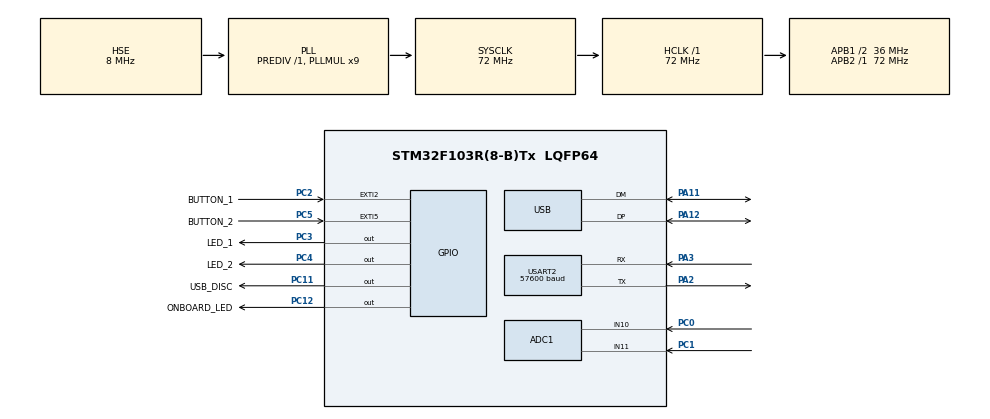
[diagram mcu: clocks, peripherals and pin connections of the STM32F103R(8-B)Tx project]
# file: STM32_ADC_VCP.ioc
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ADC1.Channel-12\#ChannelRegularConversion=ADC_CHANNEL_TEMPSENSOR
ADC1.Channel-13\#ChannelRegularConversion=ADC_CHANNEL_VREFINT
ADC1.Channel-14\#ChannelRegularConversion=ADC_CHANNEL_10
ADC1.Channel-15\#ChannelRegularConversion=ADC_CHANNEL_11
ADC1.ContinuousConvMode=ENABLE
ADC1.NbrOfConversion=4
ADC1.NbrOfConversionFlag=1
ADC1.Rank-12\#ChannelRegularConversion=1
ADC1.Rank-13\#ChannelRegularConversion=2
ADC1.Rank-14\#ChannelRegularConversion=3
ADC1.Rank-15\#ChannelRegularConversion=4
ADC1.SamplingTime-12\#ChannelRegularConversion=ADC_SAMPLETIME_7CYCLES_5
ADC1.SamplingTime-13\#ChannelRegularConversion=ADC_SAMPLETIME_7CYCLES_5
ADC1.SamplingTime-14\#ChannelRegularConversion=ADC_SAMPLETIME_7CYCLES_5
ADC1.SamplingTime-15\#ChannelRegularConversion=ADC_SAMPLETIME_7CYCLES_5
ADC1.master=1
Dma.ADC1.0.Direction=DMA_PERIPH_TO_MEMORY
Dma.ADC1.0.Instance=DMA1_Channel1
Dma.ADC1.0.MemDataAlignment=DMA_MDATAALIGN_WORD
Dma.ADC1.0.MemInc=DMA_MINC_ENABLE
Dma.ADC1.0.Mode=DMA_CIRCULAR
Dma.ADC1.0.PeriphDataAlignment=DMA_PDATAALIGN_WORD
Dma.ADC1.0.PeriphInc=DMA_PINC_DISABLE
Dma.ADC1.0.Priority=DMA_PRIORITY_HIGH
Dma.Request0=ADC1
Mcu.Family=STM32F1
Mcu.Name=STM32F103R(8-B)Tx
Mcu.Package=LQFP64
NVIC.DMA1_Channel1_IRQn=true\:1\:0\:true
NVIC.EXTI2_IRQn=true\:2\:0\:true
NVIC.EXTI9_5_IRQn=true\:3\:0\:true
NVIC.PriorityGroup=NVIC_PRIORITYGROUP_4
NVIC.USB_LP_CAN1_RX0_IRQn=true\:0\:0\:false
PA11.Mode=Device
PA11.Signal=USB_DM
PA12.Mode=Device
PA12.Signal=USB_DP
PA2.Mode=Asynchronous
PA2.Signal=USART2_TX
PA3.Mode=Asynchronous
PA3.Signal=USART2_RX
PC0.Signal=ADCx_IN10
PC1.Signal=ADCx_IN11
PC11.GPIO_Label=USB_DISC
PC11.GPIO_ModeDefaultOutputPP=GPIO_MODE_OUTPUT_PP
PC11.GPIO_Speed=GPIO_SPEED_LOW
PC11.Signal=GPIO_Output
PC12.GPIO_Label=ONBOARD_LED
PC12.GPIO_ModeDefaultOutputPP=GPIO_MODE_OUTPUT_PP
PC12.GPIO_Speed=GPIO_SPEED_LOW
PC12.Signal=GPIO_Output
PC2.GPIO_Label=BUTTON_1
PC2.GPIO_ModeDefaultEXTI=GPIO_MODE_IT_FALLING
PC2.GPIO_PuPd=GPIO_PULLUP
PC2.Signal=GPXTI2
PC3.GPIO_Label=LED_1
PC3.GPIO_ModeDefaultOutputPP=GPIO_MODE_OUTPUT_PP
PC3.GPIO_Speed=GPIO_SPEED_LOW
PC3.Signal=GPIO_Output
PC4.GPIO_Label=LED_2
PC4.GPIO_ModeDefaultOutputPP=GPIO_MODE_OUTPUT_PP
PC4.GPIO_Speed=GPIO_SPEED_LOW
PC4.Signal=GPIO_Output
PC5.GPIO_Label=BUTTON_2
PC5.GPIO_ModeDefaultEXTI=GPIO_MODE_IT_FALLING
PC5.GPIO_PuPd=GPIO_PULLUP
PC5.Signal=GPXTI5
PD0-OSC_IN.Mode=HSE-External-Oscillator
PD0-OSC_IN.Signal=RCC_OSC_IN
PD1-OSC_OUT.Mode=HSE-External-Oscillator
PD1-OSC_OUT.Signal=RCC_OSC_OUT
ProjectManager.TargetToolchain=EWARM
RCC.ADCPresc=RCC_ADCPCLK2_DIV6
RCC.AHBFreq_Value=72000000
RCC.APB1CLKDivider=RCC_HCLK_DIV2
RCC.APB1Freq_Value=36000000
RCC.APB1TimFreq_Value=72000000
RCC.APB2Freq_Value=72000000
RCC.APB2TimFreq_Value=72000000
RCC.HCLKFreq_Value=72000000
RCC.HSIState=RCC_HSI_ON
RCC.PLLMUL=RCC_PLL_MUL9
RCC.PLLSourceVirtual=RCC_PLLSOURCE_HSE
RCC.SYSCLKFreq_VALUE=72000000
RCC.SYSCLKSource=RCC_SYSCLKSOURCE_PLLCLK
RCC.USBFreq_Value=48000000
RCC.USBPrescaler=RCC_USBPLLCLK_DIV1_5
SH.ADCx_IN10.0=ADC1_IN10,IN10
SH.ADCx_IN11.0=ADC1_IN11,IN11
USART2.BaudRate=57600
USB.ep0_mps=DEP0CTL_MPS_64
USB_DEVICE.USBD_HandleTypeDef=hUsbDeviceFS
USB_DEVICE.VirtualMode=Cdc
USB_DEVICE.VirtualModeFS=Cdc_FS
VP_ADC1_TempSens_Input.Mode=IN-TempSens
VP_ADC1_Vref_Input.Mode=IN-Vrefint
VP_USB_DEVICE_VS_USB_DEVICE_CDC_FS.Mode=CDC_FS
board=custom

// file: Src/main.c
/**
 ******************************************************************************
 * File Name          : main.c
 * Description        : Main program body
 ******************************************************************************
 *
 * COPYRIGHT(c) 2015 STMicroelectronics
 *
 * Redistribution and use in source and binary forms, with or without modification,
 * are permitted provided that the following conditions are met:
 *   1. Redistributions of source code must retain the above copyright notice,
 *      this list of conditions and the following disclaimer.
 *   2. Redistributions in binary form must reproduce the above copyright notice,
 *      this list of conditions and the following disclaimer in the documentation
 *      and/or other materials provided with the distribution.
 *   3. Neither the name of STMicroelectronics nor the names of its contributors
 *      may be used to endorse or promote products derived from this software
 *      without specific prior written permission.
 *
 * THIS SOFTWARE IS PROVIDED BY THE COPYRIGHT HOLDERS AND CONTRIBUTORS "AS IS"
 * AND ANY EXPRESS OR IMPLIED WARRANTIES, INCLUDING, BUT NOT LIMITED TO, THE
 * IMPLIED WARRANTIES OF MERCHANTABILITY AND FITNESS FOR A PARTICULAR PURPOSE ARE
 * DISCLAIMED. IN NO EVENT SHALL THE COPYRIGHT HOLDER OR CONTRIBUTORS BE LIABLE
 * FOR ANY DIRECT, INDIRECT, INCIDENTAL, SPECIAL, EXEMPLARY, OR CONSEQUENTIAL
 * DAMAGES (INCLUDING, BUT NOT LIMITED TO, PROCUREMENT OF SUBSTITUTE GOODS OR
 * SERVICES; LOSS OF USE, DATA, OR PROFITS; OR BUSINESS INTERRUPTION) HOWEVER
 * CAUSED AND ON ANY THEORY OF LIABILITY, WHETHER IN CONTRACT, STRICT LIABILITY,
 * OR TORT (INCLUDING NEGLIGENCE OR OTHERWISE) ARISING IN ANY WAY OUT OF THE USE
 * OF THIS SOFTWARE, EVEN IF ADVISED OF THE POSSIBILITY OF SUCH DAMAGE.
 *
 ******************************************************************************
 */

#include "stm32f1xx_hal.h"
#include "adc.h"
#include "dma.h"
#include "usart.h"
#include "usb_device.h"
#include "gpio.h"

/* USER CODE BEGIN Includes */
#include "usbd_cdc_if.h"
#include "serial_debugger.h"
#include "packet.h"
/* USER CODE END Includes */

/* USER CODE BEGIN PV */
uint32_t ADCValues[4]; //buffer for DMA to write ADC values in it
CM_Packet packet;
uint8_t tx_DelayBase = 100; //Delay base between USB TX
uint32_t txDelay = 100;
uint8_t buttonsCount = 1;
uint8_t *bufferPtr = (uint8_t*)&packet; //pointer to start of buffer
/* USER CODE END PV */

void SystemClock_Config(void);

/* USER CODE BEGIN 0 */

//Handle buttons ISR
void HAL_GPIO_EXTI_Callback(uint16_t GPIO_Pin) {

	//Here we see how many times each button is pressed

	//button PC2 increments the delay multiplier
	if(GPIO_Pin == GPIO_PIN_2) {
		buttonsCount++;

		if(buttonsCount > 14) {
			buttonsCount = 14;
		}

		packet.DelayRatio = buttonsCount;
	}

	//button PC5 decrements the delay multiplier
	if(GPIO_Pin == GPIO_PIN_5) {
		buttonsCount--;

		if(buttonsCount < 1) {
			buttonsCount = 1;
		}

		packet.DelayRatio = buttonsCount;
	}

        //update delay
	txDelay = tx_DelayBase * buttonsCount;
}
/* USER CODE END 0 */

int main(void) {

	/* MCU Configuration----------------------------------------------------------*/

	/* Reset of all peripherals, Initializes the Flash interface and the Systick. */
	HAL_Init();

	/* Configure the system clock */
	SystemClock_Config();

	/* Initialize all configured peripherals */
	MX_GPIO_Init();
	MX_DMA_Init();
	MX_ADC1_Init();
	MX_USART2_UART_Init();
	MX_USB_DEVICE_Init();

	/* USER CODE BEGIN 2 */
	HAL_Delay(2000); //wait for USB init
	HAL_ADC_Start(&hadc1); //start ADC
	HAL_ADC_Start_DMA(&hadc1, (uint32_t*) ADCValues, 4); //start ADC DMA

	//setup packet
	packet.DeviceId = 66;
        packet.DelayRatio = 1; //set packet delay ratio to 1
	CM_Init(&packet);
	/* USER CODE END 2 */

	/* Infinite loop */
	while (1) {

		/* USER CODE BEGIN 3 */

		//Delay depending on which button is pressed!
                HAL_Delay(txDelay);

                //Add adc values to packet
                CM_AppendData(&packet, CM_VALUE_0, ADCValues[0]);
                CM_AppendData(&packet, CM_VALUE_1, ADCValues[1]);
                CM_AppendData(&packet, CM_VALUE_2, ADCValues[2]);
                CM_AppendData(&packet, CM_VALUE_3, ADCValues[3]);

		//Write to VCP
                CDC_Transmit_FS(bufferPtr, sizeof(packet));
		//while (CDC_Transmit_FS(bufferPtr, sizeof(packet)) != USBD_OK);

		//debug size of packet
		SD_PutString(USART2, "CM_Packet Size=");
		SD_PutNumber(USART2, sizeof(CM_Packet));
		SD_PutString(USART2, "\r\n");

		SD_PutString(USART2, "DelayRatio=");
		SD_PutNumber(USART2, buttonsCount);
		SD_PutString(USART2, "\r\n");

		//Debug ADCValues with USART2
		SD_PutString(USART2, "ADCValues[0]=");
		SD_PutNumber(USART2, packet.Value0);
		SD_PutString(USART2, "\r\n");

		SD_PutString(USART2, "ADCValues[1]=");
		SD_PutNumber(USART2,packet.Value1);
		SD_PutString(USART2, "\r\n");

		SD_PutString(USART2, "ADCValues[2]=");
		SD_PutNumber(USART2, packet.Value2);
		SD_PutString(USART2, "\r\n");

		SD_PutString(USART2, "ADCValues[3]=");
		SD_PutNumber(USART2, packet.Value3);
		SD_PutString(USART2, "\r\n");

	}
	/* USER CODE END 3 */

}

/** System Clock Configuration
 */
void SystemClock_Config(void) {

	RCC_OscInitTypeDef RCC_OscInitStruct;
	RCC_ClkInitTypeDef RCC_ClkInitStruct;
	RCC_PeriphCLKInitTypeDef PeriphClkInit;

	RCC_OscInitStruct.OscillatorType = RCC_OSCILLATORTYPE_HSE;
	RCC_OscInitStruct.HSEState = RCC_HSE_ON;
	RCC_OscInitStruct.HSEPredivValue = RCC_HSE_PREDIV_DIV1;
	RCC_OscInitStruct.PLL.PLLState = RCC_PLL_ON;
	RCC_OscInitStruct.PLL.PLLSource = RCC_PLLSOURCE_HSE;
	RCC_OscInitStruct.PLL.PLLMUL = RCC_PLL_MUL9;
	HAL_RCC_OscConfig(&RCC_OscInitStruct);

	RCC_ClkInitStruct.ClockType = RCC_CLOCKTYPE_SYSCLK | RCC_CLOCKTYPE_PCLK1;
	RCC_ClkInitStruct.SYSCLKSource = RCC_SYSCLKSOURCE_PLLCLK;
	RCC_ClkInitStruct.AHBCLKDivider = RCC_SYSCLK_DIV1;
	RCC_ClkInitStruct.APB1CLKDivider = RCC_HCLK_DIV2;
	RCC_ClkInitStruct.APB2CLKDivider = RCC_HCLK_DIV1;
	HAL_RCC_ClockConfig(&RCC_ClkInitStruct, FLASH_LATENCY_2);

	PeriphClkInit.PeriphClockSelection = RCC_PERIPHCLK_ADC | RCC_PERIPHCLK_USB;
	PeriphClkInit.AdcClockSelection = RCC_ADCPCLK2_DIV6;
	PeriphClkInit.UsbClockSelection = RCC_USBPLLCLK_DIV1_5;
	HAL_RCCEx_PeriphCLKConfig(&PeriphClkInit);

	HAL_SYSTICK_Config(HAL_RCC_GetHCLKFreq() / 1000);

	HAL_SYSTICK_CLKSourceConfig(SYSTICK_CLKSOURCE_HCLK);

}

/************************ (C) COPYRIGHT STMicroelectronics *****END OF FILE****/
